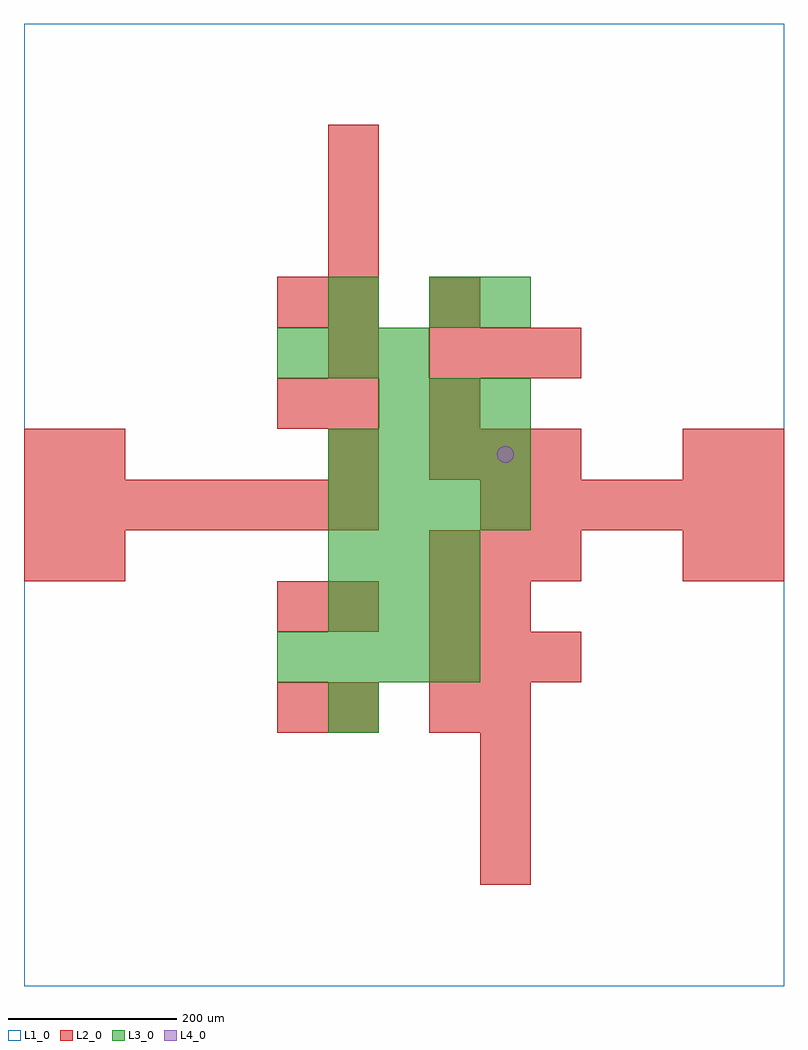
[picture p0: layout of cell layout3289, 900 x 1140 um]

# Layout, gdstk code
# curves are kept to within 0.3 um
import gdstk
lib = gdstk.Library(unit=1e-6, precision=1e-09)
def R(c, l, rs):  # rectangles x0, y0, x1, y1
    for r in rs: c.add(gdstk.rectangle(r[:2], r[2:], *l))
def A(c, l, x, y, w, h, nx, ny, dx, dy):  # array of equal rectangles
    R(c, l, [(x+i*dx, y+j*dy, x+i*dx+w, y+j*dy+h) for i in range(nx) for j in range(ny)])
def P(c, l, *ps):  # polygons
    for p in ps: c.add(gdstk.Polygon(p, *l))
L1_0 = (1, 0)
L2_0 = (2, 0)
L3_0 = (3, 0)
L4_0 = (4, 0)

layout3289 = lib.new_cell('layout3289')
R(layout3289, L1_0, [(0,0,900,1140)])
A(layout3289, L2_0, 540, 120, 60, 60, 1, 4, 0, 60)
A(layout3289, L2_0, 480, 360, 60, 60, 3, 4, 60, 120)
A(layout3289, L2_0, 0, 540, 60, 60, 7, 1, 60, 0)
A(layout3289, L2_0, 540, 540, 60, 60, 6, 1, 60, 0)
A(layout3289, L2_0, 360, 600, 60, 60, 1, 7, 0, 60)
R(layout3289, L2_0, [(300,300,360,360), (360,300,420,360), (480,300,540,360), (300,420,360,480), (360,420,420,480), (480,420,540,480), (540,420,600,480), (0,480,60,540), (60,480,120,540), (780,480,840,540), (840,480,900,540), (0,600,60,660), (60,600,120,660), (780,600,840,660), (840,600,900,660), (300,660,360,720), (480,660,540,720), (300,780,360,840), (480,780,540,840)])
A(layout3289, L3_0, 300, 360, 60, 60, 4, 1, 60, 0)
A(layout3289, L3_0, 360, 420, 60, 60, 3, 2, 60, 60)
A(layout3289, L3_0, 360, 540, 60, 60, 4, 2, 60, 60)
A(layout3289, L3_0, 420, 660, 60, 60, 3, 1, 60, 0)
A(layout3289, L3_0, 300, 720, 60, 60, 3, 1, 60, 0)
R(layout3289, L3_0, [(360,300,420,360), (360,780,420,840), (480,780,540,840), (540,780,600,840)])
P(layout3289, L4_0, [(580,630),(579.239,633.827),(577.071,637.071),(573.827,639.239),(570,640),(566.173,639.239),(562.929,637.071),(560.761,633.827),(560,630),(560.761,626.173),(562.929,622.929),(566.173,620.761),(570,620),(573.827,620.761),(577.071,622.929),(579.239,626.173)])

lib.write_gds('layout3289.gds')
